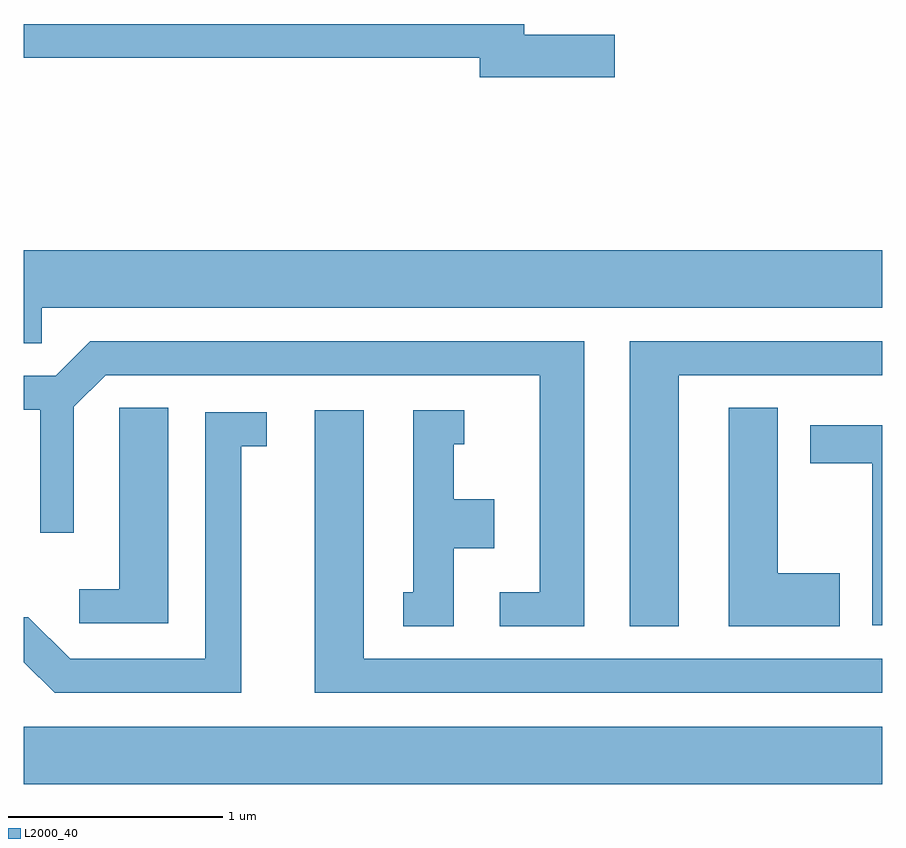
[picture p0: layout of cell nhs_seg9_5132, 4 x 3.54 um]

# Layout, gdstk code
import gdstk
lib = gdstk.Library(unit=1e-6, precision=1e-09)
def R(c, l, rs):  # rectangles x0, y0, x1, y1
    for r in rs: c.add(gdstk.rectangle(r[:2], r[2:], *l))
def P(c, l, *ps):  # polygons
    for p in ps: c.add(gdstk.Polygon(p, *l))
L2000_40 = (2000, 40)

nhs_seg9_5132 = lib.new_cell('nhs_seg9_5132')
R(nhs_seg9_5132, L2000_40, [(335.611,2060.636,339.611,2060.904)])
P(nhs_seg9_5132, L2000_40, [(338.364,2064.129),(337.944,2064.129),(337.944,2064.179),(335.611,2064.179),(335.611,2064.021),(337.736,2064.021),(337.736,2063.931),(338.364,2063.931)],
  [(335.694,2062.856),(339.611,2062.856),(339.611,2063.124),(335.611,2063.124),(335.611,2062.691),(335.694,2062.691)],
  [(338.224,2062.699),(335.919,2062.699),(335.759,2062.539),(335.611,2062.539),(335.611,2062.381),(335.686,2062.381),(335.686,2061.808),(335.844,2061.808),(335.844,2062.394),(335.992,2062.541),(338.016,2062.541),(338.016,2061.529),(337.828,2061.529),(337.828,2061.371),(338.224,2061.371)],
  [(338.664,2062.541),(339.611,2062.541),(339.611,2062.699),(338.436,2062.699),(338.436,2061.371),(338.664,2061.371)],
  [(336.284,2062.389),(336.056,2062.389),(336.056,2061.544),(335.868,2061.544),(335.868,2061.386),(336.284,2061.386)],
  [(339.414,2061.619),(339.124,2061.619),(339.124,2062.389),(338.896,2062.389),(338.896,2061.371),(339.414,2061.371)],
  [(337.614,2061.736),(337.804,2061.736),(337.804,2061.964),(337.614,2061.964),(337.614,2062.221),(337.663,2062.221),(337.663,2062.379),(337.426,2062.379),(337.426,2061.529),(337.378,2061.529),(337.378,2061.371),(337.614,2061.371)],
  [(339.611,2061.219),(337.194,2061.219),(337.194,2062.379),(336.966,2062.379),(336.966,2061.061),(339.611,2061.061)],
  [(336.624,2062.211),(336.743,2062.211),(336.743,2062.369),(336.456,2062.369),(336.456,2061.219),(335.827,2061.219),(335.632,2061.414),(335.611,2061.414),(335.611,2061.204),(335.754,2061.061),(336.624,2061.061)],
  [(339.611,2062.309),(339.276,2062.309),(339.276,2062.131),(339.566,2062.131),(339.566,2061.376),(339.611,2061.376)])

lib.write_gds('nhs_seg9_5132.gds')
